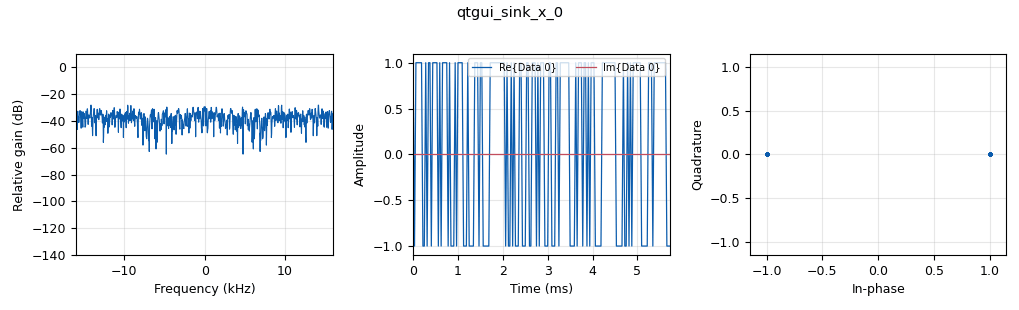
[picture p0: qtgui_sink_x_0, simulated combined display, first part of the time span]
<?xml version='1.0' encoding='utf-8'?>
<?grc format='1' created='3.7.11'?>
<flow_graph>
<block>
<key>options</key>
<param><key>id</key><value>randombits</value></param>
<param><key>generate_options</key><value>qt_gui</value></param>
</block>
<block>
<key>variable</key>
<param><key>id</key><value>samp_rate</value></param>
<param><key>value</key><value>32e3</value></param>
</block>
<block>
<key>analog_const_source_x</key>
<param><key>id</key><value>analog_const_source_x_0</value></param>
<param><key>const</key><value>0</value></param>
<param><key>type</key><value>float</value></param>
</block>
<block>
<key>analog_random_source_x</key>
<param><key>id</key><value>analog_random_source_x_0</value></param>
<param><key>max</key><value>2</value></param>
<param><key>min</key><value>0</value></param>
<param><key>num_samps</key><value>1000</value></param>
<param><key>type</key><value>byte</value></param>
<param><key>repeat</key><value>True</value></param>
</block>
<block>
<key>blocks_add_const_vxx</key>
<param><key>id</key><value>blocks_add_const_vxx_0</value></param>
<param><key>const</key><value>-1</value></param>
<param><key>type</key><value>float</value></param>
</block>
<block>
<key>blocks_float_to_complex</key>
<param><key>id</key><value>blocks_float_to_complex_0</value></param>
</block>
<block>
<key>blocks_multiply_const_vxx</key>
<param><key>id</key><value>blocks_multiply_const_vxx_0</value></param>
<param><key>const</key><value>2</value></param>
<param><key>type</key><value>float</value></param>
</block>
<block>
<key>blocks_uchar_to_float</key>
<param><key>id</key><value>blocks_uchar_to_float_0</value></param>
</block>
<block>
<key>note</key>
<param><key>id</key><value>note_0</value></param>
<param><key>note</key><value>Examine constellation block to see the randomly produced 1's and 0's.</value></param>
</block>
<block>
<key>note</key>
<param><key>id</key><value>note_1</value></param>
<param><key>note</key><value>multiplication by 2 produces output of 0 or 2</value></param>
</block>
<block>
<key>note</key>
<param><key>id</key><value>note_2</value></param>
<param><key>note</key><value>generate a 0 or 1</value></param>
</block>
<block>
<key>note</key>
<param><key>id</key><value>note_3</value></param>
<param><key>note</key><value>Output is -1 or 1</value></param>
</block>
<block>
<key>note</key>
<param><key>id</key><value>note_4</value></param>
<param><key>note</key><value>Need constant 0 source so that the complex Q is 0</value></param>
</block>
<block>
<key>qtgui_sink_x</key>
<param><key>id</key><value>qtgui_sink_x_0</value></param>
<param><key>bw</key><value>samp_rate</value></param>
<param><key>fc</key><value>0</value></param>
<param><key>freqchangevar</key><value>None</value></param>
<param><key>fftsize</key><value>1024</value></param>
<param><key>showports</key><value>True</value></param>
<param><key>type</key><value>complex</value></param>
<param><key>wintype</key><value>firdes.WIN_BLACKMAN_hARRIS</value></param>
</block>
<connection><source_block_id>analog_const_source_x_0</source_block_id><sink_block_id>blocks_float_to_complex_0</sink_block_id><source_key>0</source_key><sink_key>1</sink_key></connection>
<connection><source_block_id>analog_random_source_x_0</source_block_id><sink_block_id>blocks_uchar_to_float_0</sink_block_id><source_key>0</source_key><sink_key>0</sink_key></connection>
<connection><source_block_id>blocks_add_const_vxx_0</source_block_id><sink_block_id>blocks_float_to_complex_0</sink_block_id><source_key>0</source_key><sink_key>0</sink_key></connection>
<connection><source_block_id>blocks_float_to_complex_0</source_block_id><sink_block_id>qtgui_sink_x_0</sink_block_id><source_key>0</source_key><sink_key>0</sink_key></connection>
<connection><source_block_id>blocks_multiply_const_vxx_0</source_block_id><sink_block_id>blocks_add_const_vxx_0</sink_block_id><source_key>0</source_key><sink_key>0</sink_key></connection>
<connection><source_block_id>blocks_uchar_to_float_0</source_block_id><sink_block_id>blocks_multiply_const_vxx_0</sink_block_id><source_key>0</source_key><sink_key>0</sink_key></connection>
</flow_graph>
